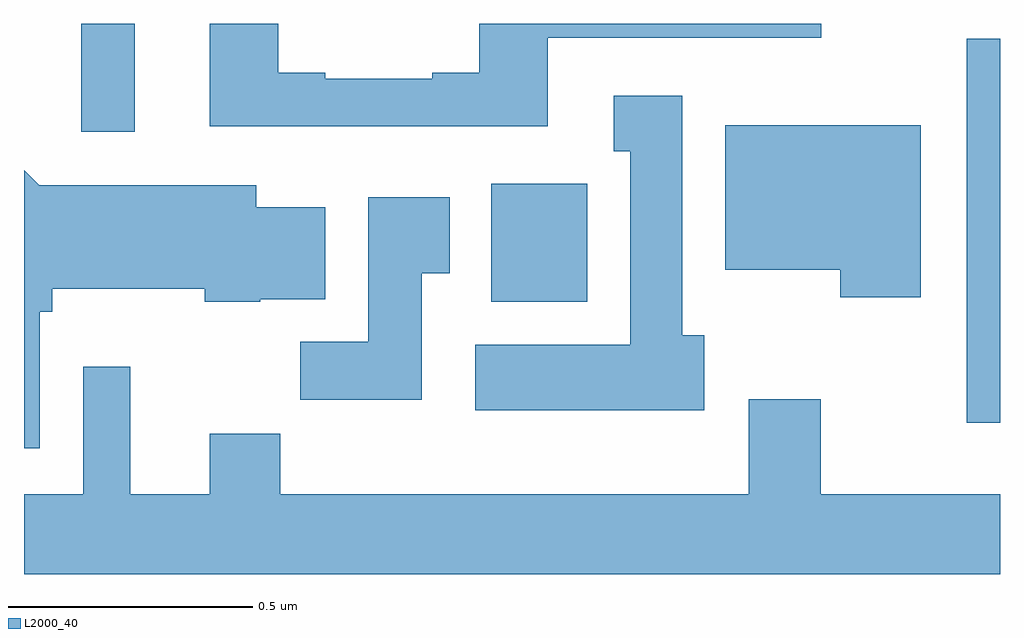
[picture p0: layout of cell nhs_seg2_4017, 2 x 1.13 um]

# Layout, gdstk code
import gdstk
lib = gdstk.Library(unit=1e-6, precision=1e-09)
def R(c, l, rs):  # rectangles x0, y0, x1, y1
    for r in rs: c.add(gdstk.rectangle(r[:2], r[2:], *l))
def P(c, l, *ps):  # polygons
    for p in ps: c.add(gdstk.Polygon(p, *l))
L2000_40 = (2000, 40)

nhs_seg2_4017 = lib.new_cell('nhs_seg2_4017')
R(nhs_seg2_4017, L2000_40, [(162.932,611.982,163,612.769), (161.957,612.23,162.154,612.472), (161.117,612.579,161.227,612.8)])
P(nhs_seg2_4017, L2000_40, [(162.073,612.771),(162.634,612.771),(162.634,612.8),(161.933,612.8),(161.933,612.7),(161.837,612.7),(161.837,612.687),(161.617,612.687),(161.617,612.7),(161.521,612.7),(161.521,612.8),(161.381,612.8),(161.381,612.59),(162.073,612.59)],
  [(162.394,612.162),(162.349,612.162),(162.349,612.652),(162.209,612.652),(162.209,612.539),(162.242,612.539),(162.242,612.142),(161.925,612.142),(161.925,612.008),(162.394,612.008)],
  [(162.838,612.592),(162.437,612.592),(162.437,612.296),(162.673,612.296),(162.673,612.24),(162.838,612.24)],
  [(161.032,612.21),(161.058,612.21),(161.058,612.257),(161.37,612.257),(161.37,612.23),(161.484,612.23),(161.484,612.236),(161.617,612.236),(161.617,612.424),(161.476,612.424),(161.476,612.469),(161.031,612.469),(161,612.5),(161,611.93),(161.032,611.93)],
  [(161.815,612.289),(161.872,612.289),(161.872,612.445),(161.705,612.445),(161.705,612.148),(161.566,612.148),(161.566,612.03),(161.815,612.03)],
  [(163,611.836),(162.633,611.836),(162.633,612.031),(162.485,612.031),(162.485,611.836),(161.525,611.836),(161.525,611.96),(161.381,611.96),(161.381,611.836),(161.218,611.836),(161.218,612.097),(161.121,612.097),(161.121,611.836),(161,611.836),(161,611.672),(163,611.672)])

lib.write_gds('nhs_seg2_4017.gds')
